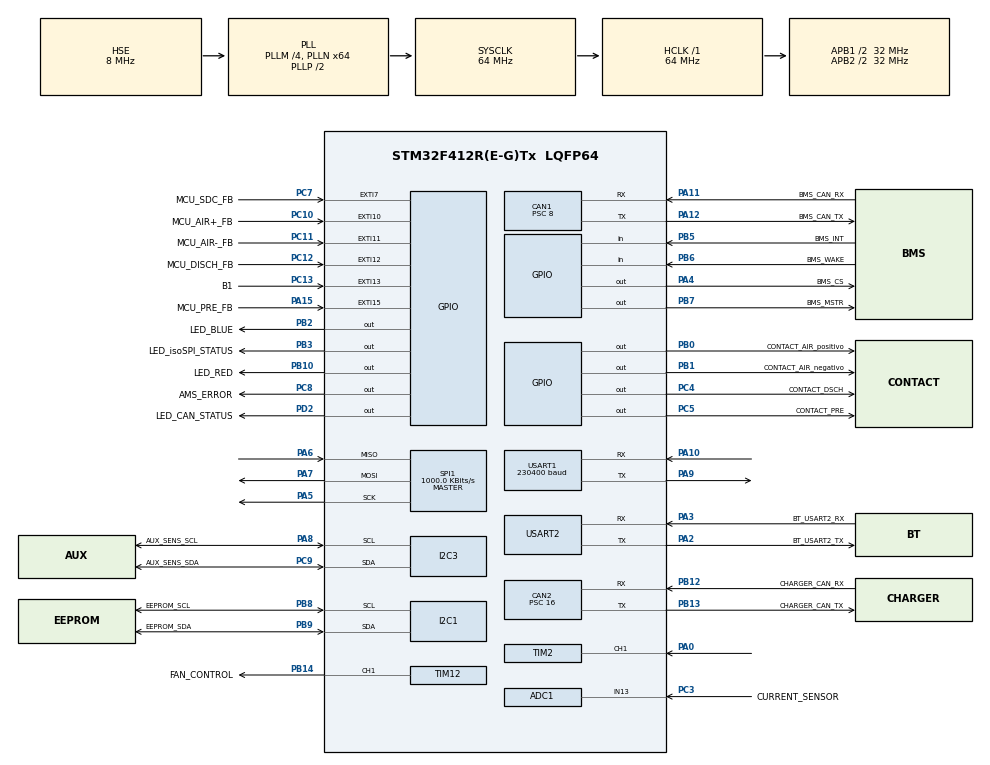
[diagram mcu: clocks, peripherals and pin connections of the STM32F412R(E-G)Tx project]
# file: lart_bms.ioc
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ADC1.Channel-1\#ChannelRegularConversion=ADC_CHANNEL_13
ADC1.Channel-2\#ChannelRegularConversion=ADC_CHANNEL_TEMPSENSOR
ADC1.Channel-3\#ChannelRegularConversion=ADC_CHANNEL_VREFINT
ADC1.ClockPrescaler=ADC_CLOCK_SYNC_PCLK_DIV8
ADC1.ContinuousConvMode=DISABLE
ADC1.DMAContinuousRequests=ENABLE
ADC1.EOCSelection=ADC_EOC_SEQ_CONV
ADC1.ExternalTrigConv=ADC_EXTERNALTRIGCONV_T3_TRGO
ADC1.InjNumberOfConversion=0
ADC1.NbrOfConversion=3
ADC1.NbrOfConversionFlag=1
ADC1.Rank-1\#ChannelRegularConversion=1
ADC1.Rank-2\#ChannelRegularConversion=2
ADC1.Rank-3\#ChannelRegularConversion=3
ADC1.Resolution=ADC_RESOLUTION_12B
ADC1.SamplingTime-1\#ChannelRegularConversion=ADC_SAMPLETIME_144CYCLES
ADC1.SamplingTime-2\#ChannelRegularConversion=ADC_SAMPLETIME_144CYCLES
ADC1.SamplingTime-3\#ChannelRegularConversion=ADC_SAMPLETIME_144CYCLES
ADC1.ScanConvMode=ENABLE
ADC1.master=1
CAN1.ABOM=ENABLE
CAN1.BS1=CAN_BS1_2TQ
CAN1.CalculateBaudRate=1000000
CAN1.CalculateTimeBit=1000
CAN1.CalculateTimeQuantum=250.0
CAN1.NART=ENABLE
CAN1.Prescaler=8
CAN2.ABOM=ENABLE
CAN2.BS1=CAN_BS1_2TQ
CAN2.BS2=CAN_BS2_5TQ
CAN2.CalculateBaudRate=250000
CAN2.CalculateTimeBit=4000
CAN2.CalculateTimeQuantum=500.0
CAN2.NART=ENABLE
CAN2.Prescaler=16
Dma.ADC1.2.Direction=DMA_PERIPH_TO_MEMORY
Dma.ADC1.2.FIFOMode=DMA_FIFOMODE_DISABLE
Dma.ADC1.2.Instance=DMA2_Stream0
Dma.ADC1.2.MemDataAlignment=DMA_MDATAALIGN_HALFWORD
Dma.ADC1.2.MemInc=DMA_MINC_ENABLE
Dma.ADC1.2.Mode=DMA_CIRCULAR
Dma.ADC1.2.PeriphDataAlignment=DMA_PDATAALIGN_HALFWORD
Dma.ADC1.2.PeriphInc=DMA_PINC_DISABLE
Dma.ADC1.2.Priority=DMA_PRIORITY_HIGH
Dma.Request0=USART1_TX
Dma.Request1=USART2_TX
Dma.Request2=ADC1
Dma.USART1_TX.0.Direction=DMA_MEMORY_TO_PERIPH
Dma.USART1_TX.0.FIFOMode=DMA_FIFOMODE_DISABLE
Dma.USART1_TX.0.Instance=DMA2_Stream7
Dma.USART1_TX.0.MemDataAlignment=DMA_MDATAALIGN_BYTE
Dma.USART1_TX.0.MemInc=DMA_MINC_ENABLE
Dma.USART1_TX.0.Mode=DMA_NORMAL
Dma.USART1_TX.0.PeriphDataAlignment=DMA_PDATAALIGN_BYTE
Dma.USART1_TX.0.PeriphInc=DMA_PINC_DISABLE
Dma.USART1_TX.0.Priority=DMA_PRIORITY_LOW
Dma.USART2_TX.1.Direction=DMA_MEMORY_TO_PERIPH
Dma.USART2_TX.1.FIFOMode=DMA_FIFOMODE_DISABLE
Dma.USART2_TX.1.Instance=DMA1_Stream6
Dma.USART2_TX.1.MemDataAlignment=DMA_MDATAALIGN_BYTE
Dma.USART2_TX.1.MemInc=DMA_MINC_ENABLE
Dma.USART2_TX.1.Mode=DMA_NORMAL
Dma.USART2_TX.1.PeriphDataAlignment=DMA_PDATAALIGN_BYTE
Dma.USART2_TX.1.PeriphInc=DMA_PINC_DISABLE
Dma.USART2_TX.1.Priority=DMA_PRIORITY_LOW
Mcu.Family=STM32F4
Mcu.Name=STM32F412R(E-G)Tx
Mcu.Package=LQFP64
NVIC.ADC_IRQn=true\:0\:0\:false\:false\:true\:true\:true\:true
NVIC.CAN1_RX0_IRQn=true\:0\:0\:false\:false\:true\:true\:true\:true
NVIC.DMA1_Stream6_IRQn=true\:0\:0\:false\:false\:true\:false\:true\:true
NVIC.DMA2_Stream0_IRQn=true\:0\:0\:false\:false\:true\:false\:true\:true
NVIC.DMA2_Stream7_IRQn=true\:0\:0\:false\:false\:true\:false\:true\:true
NVIC.EXTI15_10_IRQn=true\:0\:0\:false\:false\:true\:true\:true\:true
NVIC.PriorityGroup=NVIC_PRIORITYGROUP_4
NVIC.TIM2_IRQn=true\:0\:0\:false\:false\:true\:true\:true\:true
NVIC.USART1_IRQn=true\:0\:0\:false\:false\:true\:true\:true\:true
NVIC.USART2_IRQn=true\:0\:0\:false\:false\:true\:true\:true\:true
PA0.Signal=S_TIM2_CH1_ETR
PA10.Mode=Asynchronous
PA10.Signal=USART1_RX
PA11.GPIO_Label=BMS_CAN_RX
PA11.Mode=CAN_Activate
PA11.Signal=CAN1_RX
PA12.GPIO_Label=BMS_CAN_TX
PA12.Mode=CAN_Activate
PA12.Signal=CAN1_TX
PA13.Signal=SYS_JTMS-SWDIO
PA14.Signal=SYS_JTCK-SWCLK
PA15.GPIO_Label=MCU_PRE_FB
PA15.GPIO_ModeDefaultEXTI=GPIO_MODE_IT_RISING_FALLING
PA15.Signal=GPXTI15
PA2.GPIO_Label=BT_USART2_TX
PA2.Mode=Asynchronous
PA2.Signal=USART2_TX
PA3.GPIO_Label=BT_USART2_RX
PA3.Mode=Asynchronous
PA3.Signal=USART2_RX
PA4.GPIO_Label=BMS_CS
PA4.GPIO_Speed=GPIO_SPEED_FREQ_VERY_HIGH
PA4.Signal=GPIO_Output
PA5.Mode=Full_Duplex_Master
PA5.Signal=SPI1_SCK
PA6.Mode=Full_Duplex_Master
PA6.Signal=SPI1_MISO
PA7.Mode=Full_Duplex_Master
PA7.Signal=SPI1_MOSI
PA8.GPIO_Label=AUX_SENS_SCL
PA8.Mode=I2C
PA8.Signal=I2C3_SCL
PA9.Mode=Asynchronous
PA9.Signal=USART1_TX
PB0.GPIO_Label=CONTACT_AIR_positivo
PB0.GPIO_PuPd=GPIO_PULLUP
PB0.PinState=GPIO_PIN_SET
PB0.Signal=GPIO_Output
PB1.GPIO_Label=CONTACT_AIR_negativo
PB1.GPIO_PuPd=GPIO_PULLUP
PB1.PinState=GPIO_PIN_SET
PB1.Signal=GPIO_Output
PB10.GPIO_Label=LED_RED
PB10.Signal=GPIO_Output
PB12.GPIO_Label=CHARGER_CAN_RX
PB12.Mode=CAN_Activate
PB12.Signal=CAN2_RX
PB13.GPIO_Label=CHARGER_CAN_TX
PB13.Mode=CAN_Activate
PB13.Signal=CAN2_TX
PB14.GPIO_Label=FAN_CONTROL
PB14.Signal=S_TIM12_CH1
PB2.GPIO_Label=LED_BLUE
PB2.Signal=GPIO_Output
PB3.GPIO_Label=LED_isoSPI_STATUS
PB3.Signal=GPIO_Output
PB5.GPIO_Label=BMS_INT
PB5.Signal=GPIO_Input
PB6.GPIO_Label=BMS_WAKE
PB6.Signal=GPIO_Input
PB7.GPIO_Label=BMS_MSTR
PB7.Signal=GPIO_Output
PB8.GPIO_Label=EEPROM_SCL
PB8.Mode=I2C
PB8.Signal=I2C1_SCL
PB9.GPIO_Label=EEPROM_SDA
PB9.Mode=I2C
PB9.Signal=I2C1_SDA
PC10.GPIO_Label=MCU_AIR+_FB
PC10.GPIO_ModeDefaultEXTI=GPIO_MODE_IT_RISING_FALLING
PC10.Signal=GPXTI10
PC11.GPIO_Label=MCU_AIR-_FB
PC11.GPIO_ModeDefaultEXTI=GPIO_MODE_IT_RISING_FALLING
PC11.Signal=GPXTI11
PC12.GPIO_Label=MCU_DISCH_FB
PC12.GPIO_ModeDefaultEXTI=GPIO_MODE_IT_RISING_FALLING
PC12.Signal=GPXTI12
PC13.GPIO_Label=B1
PC13.GPIO_PuPd=GPIO_PULLDOWN
PC13.Signal=GPXTI13
PC14-OSC32_IN.Signal=RCC_OSC32_IN
PC15-OSC32_OUT.Signal=RCC_OSC32_OUT
PC3.GPIO_Label=CURRENT_SENSOR
PC3.Signal=SharedAnalog_PC3
PC4.GPIO_Label=CONTACT_DSCH
PC4.GPIO_PuPd=GPIO_PULLUP
PC4.PinState=GPIO_PIN_SET
PC4.Signal=GPIO_Output
PC5.GPIO_Label=CONTACT_PRE
PC5.GPIO_PuPd=GPIO_PULLUP
PC5.PinState=GPIO_PIN_SET
PC5.Signal=GPIO_Output
PC7.GPIO_Label=MCU_SDC_FB
PC7.Signal=GPXTI7
PC8.GPIO_Label=AMS_ERROR
PC8.Signal=GPIO_Output
PC9.GPIO_Label=AUX_SENS_SDA
PC9.Mode=I2C
PC9.Signal=I2C3_SDA
PD2.GPIO_Label=LED_CAN_STATUS
PD2.Signal=GPIO_Output
PH0\ -\ OSC_IN.Mode=HSE-External-Oscillator
PH0\ -\ OSC_IN.Signal=RCC_OSC_IN
PH1\ -\ OSC_OUT.Mode=HSE-External-Oscillator
PH1\ -\ OSC_OUT.Signal=RCC_OSC_OUT
ProjectManager.HeapSize=0x200
ProjectManager.StackSize=0x400
ProjectManager.TargetToolchain=STM32CubeIDE
RCC.AHBFreq_Value=64000000
RCC.APB1CLKDivider=RCC_HCLK_DIV2
RCC.APB1Freq_Value=32000000
RCC.APB1TimFreq_Value=64000000
RCC.APB2CLKDivider=RCC_HCLK_DIV2
RCC.APB2Freq_Value=32000000
RCC.APB2TimFreq_Value=64000000
RCC.CodegenConfigPeriph=true
RCC.CortexFreq_Value=64000000
RCC.HCLKFreq_Value=64000000
RCC.HSE_VALUE=8000000
RCC.LSE_Drive_CapabilityArg=+LSE_Drive_Capability
RCC.PLLI2SM=2
RCC.PLLI2SN=64
RCC.PLLI2SQ=12
RCC.PLLM=4
RCC.PLLN=64
RCC.PLLSourceVirtual=RCC_PLLSOURCE_HSE
RCC.SYSCLKFreq_VALUE=64000000
RCC.SYSCLKSource=RCC_SYSCLKSOURCE_PLLCLK
RCC.USBCLockSelection=RCC_CLK48CLKSOURCE_PLLI2SQ
RCC.USBFreq_Value=21333333.333333332
RCC.VCOOutputFreq_Value=128000000
SH.S_TIM12_CH1.0=TIM12_CH1,PWM Generation1 CH1
SH.S_TIM2_CH1_ETR.0=TIM2_CH1,Input_Capture1_from_TI1
SH.SharedAnalog_PC3.0=GPIO_Analog
SH.SharedAnalog_PC3.1=ADC1_IN13,IN13
SPI1.BaudRatePrescaler=SPI_BAUDRATEPRESCALER_32
SPI1.CLKPhase=SPI_PHASE_1EDGE
SPI1.CLKPolarity=SPI_POLARITY_LOW
SPI1.CalculateBaudRate=1000.0 KBits/s
SPI1.Direction=SPI_DIRECTION_2LINES
SPI1.Mode=SPI_MODE_MASTER
SPI1.VirtualType=VM_MASTER
TIM12.Channel-PWM\ Generation1\ CH1=TIM_CHANNEL_1
TIM12.Period=255
TIM12.Prescaler=249
TIM2.Channel-Input_Capture1_from_TI1=TIM_CHANNEL_1
TIM2.Period=0xffffffff
TIM2.Prescaler=0
TIM3.AutoReloadPreload=TIM_AUTORELOAD_PRELOAD_ENABLE
TIM3.Period=65535
TIM3.TIM_MasterOutputTrigger=TIM_TRGO_UPDATE
TIM5.Period=0xffffffff
TIM5.Prescaler=64-1
USART1.BaudRate=230400
USART1.VirtualMode=VM_ASYNC
USART2.VirtualMode=VM_ASYNC
VP_ADC1_TempSens_Input.Mode=IN-TempSens
VP_ADC1_Vref_Input.Mode=IN-Vrefint
VP_TIM2_VS_ClockSourceINT.Mode=Internal
VP_TIM3_VS_ClockSourceINT.Mode=Internal
VP_TIM5_VS_ClockSourceINT.Mode=Internal
board=custom

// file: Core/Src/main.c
/* USER CODE BEGIN Header */
/**
 ******************************************************************************
 * @file           : main.c
 * @brief          : Main program body
 ******************************************************************************
 * @attention
 *
 * Copyright (c) 2025 STMicroelectronics.
 * All rights reserved.
 *
 * This software is licensed under terms that can be found in the LICENSE file
 * in the root directory of this software component.
 * If no LICENSE file comes with this software, it is provided AS-IS.
 *
 ******************************************************************************
 */
/* USER CODE END Header */
#include "main.h"

/* USER CODE BEGIN Includes */
#include "brain.h"
#include "isa_ivt-s.h"

/* USER CODE END Includes */

ADC_HandleTypeDef hadc1;
DMA_HandleTypeDef hdma_adc1;

CAN_HandleTypeDef hcan1;
CAN_HandleTypeDef hcan2;

I2C_HandleTypeDef hi2c1;
I2C_HandleTypeDef hi2c3;

SPI_HandleTypeDef hspi1;

TIM_HandleTypeDef htim2;
TIM_HandleTypeDef htim3;
TIM_HandleTypeDef htim5;
TIM_HandleTypeDef htim12;

UART_HandleTypeDef huart1;
UART_HandleTypeDef huart2;
DMA_HandleTypeDef hdma_usart1_tx;
DMA_HandleTypeDef hdma_usart2_tx;

WWDG_HandleTypeDef hwwdg;

/* USER CODE BEGIN PV */
uint32_t watchdog_flag = 0;
/* USER CODE END PV */

void SystemClock_Config(void);
static void MX_GPIO_Init(void);
static void MX_DMA_Init(void);
static void MX_USART1_UART_Init(void);
static void MX_SPI1_Init(void);
static void MX_TIM2_Init(void);
static void MX_TIM5_Init(void);
static void MX_I2C1_Init(void);
static void MX_ADC1_Init(void);
static void MX_CAN2_Init(void);
static void MX_CAN1_Init(void);
static void MX_USART2_UART_Init(void);
static void MX_I2C3_Init(void);
static void MX_TIM12_Init(void);
static void MX_TIM3_Init(void);
static void MX_WWDG_Init(void);

int main(void) {

	/* MCU Configuration--------------------------------------------------------*/

	/* Reset of all peripherals, Initializes the Flash interface and the Systick. */
	HAL_Init();

	/* Configure the system clock */
	SystemClock_Config();

	/* USER CODE BEGIN SysInit */
	/* GAURDA O ESTADO ANTES DE DAR RESET E ANTES DE INICIALIZARO WATCHDOG */
	watchdog_flag = RCC->CSR; //O RCC->CSR é um registo de 32 bits sem sinal, com int o bit 31 seria interpretado como sinal negativo
	__HAL_RCC_CLEAR_RESET_FLAGS();

	//matar o watchdog caso esteja em debug mode
	if (CoreDebug->DHCSR & CoreDebug_DHCSR_C_DEBUGEN_Msk) {
	    DBGMCU->APB1FZ |= DBGMCU_APB1_FZ_DBG_WWDG_STOP;
	}
	/* USER CODE END SysInit */

	/* Initialize all configured peripherals */
	MX_GPIO_Init();
	MX_DMA_Init();
	MX_USART1_UART_Init();
	MX_SPI1_Init();
	MX_TIM2_Init();
	MX_TIM5_Init();
	MX_I2C1_Init();
	MX_ADC1_Init();
	MX_CAN2_Init();
	MX_CAN1_Init();
	MX_USART2_UART_Init();
	MX_I2C3_Init();
	MX_TIM12_Init();
	MX_TIM3_Init();
	MX_WWDG_Init();
	/* USER CODE BEGIN 2 */

	//If watchdgot triggered - ams erro be sent
	if (watchdog_flag & RCC_CSR_WWDGRSTF) { //Bitwise stetment, wow another world
		HAL_GPIO_WritePin(AMS_ERROR_GPIO_Port, AMS_ERROR_Pin, GPIO_PIN_SET);
	}

	HAL_WWDG_Refresh(&hwwdg);

	brain_start();

	/* USER CODE END 2 */

	/* Infinite loop */
	/* USER CODE BEGIN WHILE */

	while (1) {

		HAL_WWDG_Refresh(&hwwdg);

		brain_loop();

		HAL_WWDG_Refresh(&hwwdg);

		/* USER CODE END WHILE */

	}
}

void SystemClock_Config(void) {
	RCC_OscInitTypeDef RCC_OscInitStruct = { 0 };
	RCC_ClkInitTypeDef RCC_ClkInitStruct = { 0 };

	/** Configure the main internal regulator output voltage
	 */
	__HAL_RCC_PWR_CLK_ENABLE();
	__HAL_PWR_VOLTAGESCALING_CONFIG(PWR_REGULATOR_VOLTAGE_SCALE1);

	/** Initializes the RCC Oscillators according to the specified parameters
	 * in the RCC_OscInitTypeDef structure.
	 */
	RCC_OscInitStruct.OscillatorType = RCC_OSCILLATORTYPE_HSE;
	RCC_OscInitStruct.HSEState = RCC_HSE_ON;
	RCC_OscInitStruct.PLL.PLLState = RCC_PLL_ON;
	RCC_OscInitStruct.PLL.PLLSource = RCC_PLLSOURCE_HSE;
	RCC_OscInitStruct.PLL.PLLM = 4;
	RCC_OscInitStruct.PLL.PLLN = 64;
	RCC_OscInitStruct.PLL.PLLP = RCC_PLLP_DIV2;
	RCC_OscInitStruct.PLL.PLLQ = 2;
	RCC_OscInitStruct.PLL.PLLR = 2;
	if (HAL_RCC_OscConfig(&RCC_OscInitStruct) != HAL_OK) {
		Error_Handler();
	}

	/** Initializes the CPU, AHB and APB buses clocks
	 */
	RCC_ClkInitStruct.ClockType = RCC_CLOCKTYPE_HCLK | RCC_CLOCKTYPE_SYSCLK | RCC_CLOCKTYPE_PCLK1 | RCC_CLOCKTYPE_PCLK2;
	RCC_ClkInitStruct.SYSCLKSource = RCC_SYSCLKSOURCE_PLLCLK;
	RCC_ClkInitStruct.AHBCLKDivider = RCC_SYSCLK_DIV1;
	RCC_ClkInitStruct.APB1CLKDivider = RCC_HCLK_DIV2;
	RCC_ClkInitStruct.APB2CLKDivider = RCC_HCLK_DIV2;

	if (HAL_RCC_ClockConfig(&RCC_ClkInitStruct, FLASH_LATENCY_1) != HAL_OK) {
		Error_Handler();
	}
}

static void MX_ADC1_Init(void) {

	ADC_ChannelConfTypeDef sConfig = { 0 };

	/** Configure the global features of the ADC (Clock, Resolution, Data Alignment and number of conversion)
	 */
	hadc1.Instance = ADC1;
	hadc1.Init.ClockPrescaler = ADC_CLOCK_SYNC_PCLK_DIV8;
	hadc1.Init.Resolution = ADC_RESOLUTION_12B;
	hadc1.Init.ScanConvMode = ENABLE;
	hadc1.Init.ContinuousConvMode = DISABLE;
	hadc1.Init.DiscontinuousConvMode = DISABLE;
	hadc1.Init.ExternalTrigConvEdge = ADC_EXTERNALTRIGCONVEDGE_RISING;
	hadc1.Init.ExternalTrigConv = ADC_EXTERNALTRIGCONV_T3_TRGO;
	hadc1.Init.DataAlign = ADC_DATAALIGN_RIGHT;
	hadc1.Init.NbrOfConversion = 3;
	hadc1.Init.DMAContinuousRequests = ENABLE;
	hadc1.Init.EOCSelection = ADC_EOC_SEQ_CONV;
	if (HAL_ADC_Init(&hadc1) != HAL_OK) {
		Error_Handler();
	}

	/** Configure for the selected ADC regular channel its corresponding rank in the sequencer and its sample time.
	 */
	sConfig.Channel = ADC_CHANNEL_13;
	sConfig.Rank = 1;
	sConfig.SamplingTime = ADC_SAMPLETIME_144CYCLES;
	if (HAL_ADC_ConfigChannel(&hadc1, &sConfig) != HAL_OK) {
		Error_Handler();
	}

	/** Configure for the selected ADC regular channel its corresponding rank in the sequencer and its sample time.
	 */
	sConfig.Channel = ADC_CHANNEL_TEMPSENSOR;
	sConfig.Rank = 2;
	if (HAL_ADC_ConfigChannel(&hadc1, &sConfig) != HAL_OK) {
		Error_Handler();
	}

	/** Configure for the selected ADC regular channel its corresponding rank in the sequencer and its sample time.
	 */
	sConfig.Channel = ADC_CHANNEL_VREFINT;
	sConfig.Rank = 3;
	if (HAL_ADC_ConfigChannel(&hadc1, &sConfig) != HAL_OK) {
		Error_Handler();
	}

}

static void MX_CAN1_Init(void) {

	hcan1.Instance = CAN1;
	hcan1.Init.Prescaler = 8;
	hcan1.Init.Mode = CAN_MODE_NORMAL;
	hcan1.Init.SyncJumpWidth = CAN_SJW_1TQ;
	hcan1.Init.TimeSeg1 = CAN_BS1_2TQ;
	hcan1.Init.TimeSeg2 = CAN_BS2_1TQ;
	hcan1.Init.TimeTriggeredMode = DISABLE;
	hcan1.Init.AutoBusOff = ENABLE;
	hcan1.Init.AutoWakeUp = DISABLE;
	hcan1.Init.AutoRetransmission = ENABLE;
	hcan1.Init.ReceiveFifoLocked = DISABLE;
	hcan1.Init.TransmitFifoPriority = DISABLE;
	if (HAL_CAN_Init(&hcan1) != HAL_OK) {
		Error_Handler();
	}
	/* USER CODE BEGIN CAN1_Init 2 */

	//IVT_CAN_Setup(&hcan1);

	/*// (Optional) TX complete / error callbacks
	 HAL_CAN_ActivateNotification(&hcan1,
	 CAN_IT_TX_MAILBOX_EMPTY | CAN_IT_ERROR | CAN_IT_BUSOFF);*/

	//HAL_StatusTypeDef st = HAL_CAN_Start(&hcan1);
	/*if (st != HAL_OK) {
	 //printfDma("CAN start failed: %ld\r\n", (long) st);
	 }*/

	/*if (HAL_CAN_Start(&hcan1) != HAL_OK)
	 {
	 Error_Handler();
	 }*/

	/* USER CODE END CAN1_Init 2 */

}

static void MX_CAN2_Init(void) {

	hcan2.Instance = CAN2;
	hcan2.Init.Prescaler = 16;
	hcan2.Init.Mode = CAN_MODE_NORMAL;
	hcan2.Init.SyncJumpWidth = CAN_SJW_1TQ;
	hcan2.Init.TimeSeg1 = CAN_BS1_2TQ;
	hcan2.Init.TimeSeg2 = CAN_BS2_5TQ;
	hcan2.Init.TimeTriggeredMode = DISABLE;
	hcan2.Init.AutoBusOff = ENABLE;
	hcan2.Init.AutoWakeUp = DISABLE;
	hcan2.Init.AutoRetransmission = ENABLE;
	hcan2.Init.ReceiveFifoLocked = DISABLE;
	hcan2.Init.TransmitFifoPriority = DISABLE;
	if (HAL_CAN_Init(&hcan2) != HAL_OK) {
		Error_Handler();
	}

}

static void MX_I2C1_Init(void) {

	hi2c1.Instance = I2C1;
	hi2c1.Init.ClockSpeed = 100000;
	hi2c1.Init.DutyCycle = I2C_DUTYCYCLE_2;
	hi2c1.Init.OwnAddress1 = 0;
	hi2c1.Init.AddressingMode = I2C_ADDRESSINGMODE_7BIT;
	hi2c1.Init.DualAddressMode = I2C_DUALADDRESS_DISABLE;
	hi2c1.Init.OwnAddress2 = 0;
	hi2c1.Init.GeneralCallMode = I2C_GENERALCALL_DISABLE;
	hi2c1.Init.NoStretchMode = I2C_NOSTRETCH_DISABLE;
	if (HAL_I2C_Init(&hi2c1) != HAL_OK) {
		Error_Handler();
	}

}

static void MX_I2C3_Init(void) {

	hi2c3.Instance = I2C3;
	hi2c3.Init.ClockSpeed = 100000;
	hi2c3.Init.DutyCycle = I2C_DUTYCYCLE_2;
	hi2c3.Init.OwnAddress1 = 0;
	hi2c3.Init.AddressingMode = I2C_ADDRESSINGMODE_7BIT;
	hi2c3.Init.DualAddressMode = I2C_DUALADDRESS_DISABLE;
	hi2c3.Init.OwnAddress2 = 0;
	hi2c3.Init.GeneralCallMode = I2C_GENERALCALL_DISABLE;
	hi2c3.Init.NoStretchMode = I2C_NOSTRETCH_DISABLE;
	if (HAL_I2C_Init(&hi2c3) != HAL_OK) {
		Error_Handler();
	}

}

static void MX_SPI1_Init(void) {

	/* SPI1 parameter configuration*/
	hspi1.Instance = SPI1;
	hspi1.Init.Mode = SPI_MODE_MASTER;
	hspi1.Init.Direction = SPI_DIRECTION_2LINES;
	hspi1.Init.DataSize = SPI_DATASIZE_8BIT;
	hspi1.Init.CLKPolarity = SPI_POLARITY_LOW;
	hspi1.Init.CLKPhase = SPI_PHASE_1EDGE;
	hspi1.Init.NSS = SPI_NSS_SOFT;
	hspi1.Init.BaudRatePrescaler = SPI_BAUDRATEPRESCALER_32;
	hspi1.Init.FirstBit = SPI_FIRSTBIT_MSB;
	hspi1.Init.TIMode = SPI_TIMODE_DISABLE;
	hspi1.Init.CRCCalculation = SPI_CRCCALCULATION_DISABLE;
	hspi1.Init.CRCPolynomial = 10;
	if (HAL_SPI_Init(&hspi1) != HAL_OK) {
		Error_Handler();
	}

}

static void MX_TIM2_Init(void) {

	TIM_ClockConfigTypeDef sClockSourceConfig = { 0 };
	TIM_MasterConfigTypeDef sMasterConfig = { 0 };
	TIM_IC_InitTypeDef sConfigIC = { 0 };

	htim2.Instance = TIM2;
	htim2.Init.Prescaler = 0;
	htim2.Init.CounterMode = TIM_COUNTERMODE_UP;
	htim2.Init.Period = 0xffffffff;
	htim2.Init.ClockDivision = TIM_CLOCKDIVISION_DIV1;
	htim2.Init.AutoReloadPreload = TIM_AUTORELOAD_PRELOAD_DISABLE;
	if (HAL_TIM_Base_Init(&htim2) != HAL_OK) {
		Error_Handler();
	}
	sClockSourceConfig.ClockSource = TIM_CLOCKSOURCE_INTERNAL;
	if (HAL_TIM_ConfigClockSource(&htim2, &sClockSourceConfig) != HAL_OK) {
		Error_Handler();
	}
	if (HAL_TIM_IC_Init(&htim2) != HAL_OK) {
		Error_Handler();
	}
	sMasterConfig.MasterOutputTrigger = TIM_TRGO_RESET;
	sMasterConfig.MasterSlaveMode = TIM_MASTERSLAVEMODE_DISABLE;
	if (HAL_TIMEx_MasterConfigSynchronization(&htim2, &sMasterConfig) != HAL_OK) {
		Error_Handler();
	}
	sConfigIC.ICPolarity = TIM_INPUTCHANNELPOLARITY_RISING;
	sConfigIC.ICSelection = TIM_ICSELECTION_DIRECTTI;
	sConfigIC.ICPrescaler = TIM_ICPSC_DIV1;
	sConfigIC.ICFilter = 0;
	if (HAL_TIM_IC_ConfigChannel(&htim2, &sConfigIC, TIM_CHANNEL_1) != HAL_OK) {
		Error_Handler();
	}

}

static void MX_TIM3_Init(void) {

	TIM_ClockConfigTypeDef sClockSourceConfig = { 0 };
	TIM_MasterConfigTypeDef sMasterConfig = { 0 };

	htim3.Instance = TIM3;
	htim3.Init.Prescaler = 0;
	htim3.Init.CounterMode = TIM_COUNTERMODE_UP;
	htim3.Init.Period = 65535;
	htim3.Init.ClockDivision = TIM_CLOCKDIVISION_DIV1;
	htim3.Init.AutoReloadPreload = TIM_AUTORELOAD_PRELOAD_ENABLE;
	if (HAL_TIM_Base_Init(&htim3) != HAL_OK) {
		Error_Handler();
	}
	sClockSourceConfig.ClockSource = TIM_CLOCKSOURCE_INTERNAL;
	if (HAL_TIM_ConfigClockSource(&htim3, &sClockSourceConfig) != HAL_OK) {
		Error_Handler();
	}
	sMasterConfig.MasterOutputTrigger = TIM_TRGO_UPDATE;
	sMasterConfig.MasterSlaveMode = TIM_MASTERSLAVEMODE_DISABLE;
	if (HAL_TIMEx_MasterConfigSynchronization(&htim3, &sMasterConfig) != HAL_OK) {
		Error_Handler();
	}

}

static void MX_TIM5_Init(void) {

	TIM_ClockConfigTypeDef sClockSourceConfig = { 0 };
	TIM_MasterConfigTypeDef sMasterConfig = { 0 };

	htim5.Instance = TIM5;
	htim5.Init.Prescaler = 64 - 1;
	htim5.Init.CounterMode = TIM_COUNTERMODE_UP;
	htim5.Init.Period = 0xffffffff;
	htim5.Init.ClockDivision = TIM_CLOCKDIVISION_DIV1;
	htim5.Init.AutoReloadPreload = TIM_AUTORELOAD_PRELOAD_DISABLE;
	if (HAL_TIM_Base_Init(&htim5) != HAL_OK) {
		Error_Handler();
	}
	sClockSourceConfig.ClockSource = TIM_CLOCKSOURCE_INTERNAL;
	if (HAL_TIM_ConfigClockSource(&htim5, &sClockSourceConfig) != HAL_OK) {
		Error_Handler();
	}
	sMasterConfig.MasterOutputTrigger = TIM_TRGO_RESET;
	sMasterConfig.MasterSlaveMode = TIM_MASTERSLAVEMODE_DISABLE;
	if (HAL_TIMEx_MasterConfigSynchronization(&htim5, &sMasterConfig) != HAL_OK) {
		Error_Handler();
	}

}

static void MX_TIM12_Init(void) {

	TIM_OC_InitTypeDef sConfigOC = { 0 };

	htim12.Instance = TIM12;
	htim12.Init.Prescaler = 249;
	htim12.Init.CounterMode = TIM_COUNTERMODE_UP;
	htim12.Init.Period = 255;
	htim12.Init.ClockDivision = TIM_CLOCKDIVISION_DIV1;
	htim12.Init.AutoReloadPreload = TIM_AUTORELOAD_PRELOAD_DISABLE;
	if (HAL_TIM_PWM_Init(&htim12) != HAL_OK) {
		Error_Handler();
	}
	sConfigOC.OCMode = TIM_OCMODE_PWM1;
	sConfigOC.Pulse = 0;
	sConfigOC.OCPolarity = TIM_OCPOLARITY_HIGH;
	sConfigOC.OCFastMode = TIM_OCFAST_DISABLE;
	if (HAL_TIM_PWM_ConfigChannel(&htim12, &sConfigOC, TIM_CHANNEL_1) != HAL_OK) {
		Error_Handler();
	}
	HAL_TIM_MspPostInit(&htim12);

}

static void MX_USART1_UART_Init(void) {

	huart1.Instance = USART1;
	huart1.Init.BaudRate = 230400;
	huart1.Init.WordLength = UART_WORDLENGTH_8B;
	huart1.Init.StopBits = UART_STOPBITS_1;
	huart1.Init.Parity = UART_PARITY_NONE;
	huart1.Init.Mode = UART_MODE_TX_RX;
	huart1.Init.HwFlowCtl = UART_HWCONTROL_NONE;
	huart1.Init.OverSampling = UART_OVERSAMPLING_16;
	if (HAL_UART_Init(&huart1) != HAL_OK) {
		Error_Handler();
	}

}

static void MX_USART2_UART_Init(void) {

	huart2.Instance = USART2;
	huart2.Init.BaudRate = 115200;
	huart2.Init.WordLength = UART_WORDLENGTH_8B;
	huart2.Init.StopBits = UART_STOPBITS_1;
	huart2.Init.Parity = UART_PARITY_NONE;
	huart2.Init.Mode = UART_MODE_TX_RX;
	huart2.Init.HwFlowCtl = UART_HWCONTROL_NONE;
	huart2.Init.OverSampling = UART_OVERSAMPLING_16;
	if (HAL_UART_Init(&huart2) != HAL_OK) {
		Error_Handler();
	}

}

static void MX_WWDG_Init(void) {

	hwwdg.Instance = WWDG;
	hwwdg.Init.Prescaler = WWDG_PRESCALER_8;
	hwwdg.Init.Window = 127;
	hwwdg.Init.Counter = 127;
	hwwdg.Init.EWIMode = WWDG_EWI_DISABLE;
	if (HAL_WWDG_Init(&hwwdg) != HAL_OK) {
		Error_Handler();
	}

}

static void MX_DMA_Init(void) {

	/* DMA controller clock enable */
	__HAL_RCC_DMA2_CLK_ENABLE();
	__HAL_RCC_DMA1_CLK_ENABLE();

	/* DMA interrupt init */
	/* DMA1_Stream6_IRQn interrupt configuration */
	HAL_NVIC_SetPriority(DMA1_Stream6_IRQn, 0, 0);
	HAL_NVIC_EnableIRQ(DMA1_Stream6_IRQn);
	/* DMA2_Stream0_IRQn interrupt configuration */
	HAL_NVIC_SetPriority(DMA2_Stream0_IRQn, 0, 0);
	HAL_NVIC_EnableIRQ(DMA2_Stream0_IRQn);
	/* DMA2_Stream7_IRQn interrupt configuration */
	HAL_NVIC_SetPriority(DMA2_Stream7_IRQn, 0, 0);
	HAL_NVIC_EnableIRQ(DMA2_Stream7_IRQn);

}

static void MX_GPIO_Init(void) {
	GPIO_InitTypeDef GPIO_InitStruct = { 0 };

	/* GPIO Ports Clock Enable */
	__HAL_RCC_GPIOC_CLK_ENABLE();
	__HAL_RCC_GPIOH_CLK_ENABLE();
	__HAL_RCC_GPIOA_CLK_ENABLE();
	__HAL_RCC_GPIOB_CLK_ENABLE();
	__HAL_RCC_GPIOD_CLK_ENABLE();

	/*Configure GPIO pin Output Level */
	HAL_GPIO_WritePin(BMS_CS_GPIO_Port, BMS_CS_Pin, GPIO_PIN_RESET);

	/*Configure GPIO pin Output Level */
	HAL_GPIO_WritePin(GPIOC, CONTACT_DSCH_Pin | CONTACT_PRE_Pin, GPIO_PIN_SET);

	/*Configure GPIO pin Output Level */
	HAL_GPIO_WritePin(GPIOB, CONTACT_AIR_positivo_Pin | CONTACT_AIR_negativo_Pin, GPIO_PIN_SET);

	/*Configure GPIO pin Output Level */
	HAL_GPIO_WritePin(GPIOB, LED_BLUE_Pin | LED_RED_Pin | LED_isoSPI_STATUS_Pin | BMS_MSTR_Pin, GPIO_PIN_RESET);

	/*Configure GPIO pin Output Level */
	HAL_GPIO_WritePin(AMS_ERROR_GPIO_Port, AMS_ERROR_Pin, GPIO_PIN_RESET);

	/*Configure GPIO pin Output Level */
	HAL_GPIO_WritePin(LED_CAN_STATUS_GPIO_Port, LED_CAN_STATUS_Pin, GPIO_PIN_RESET);

	/*Configure GPIO pin : B1_Pin */
	GPIO_InitStruct.Pin = B1_Pin;
	GPIO_InitStruct.Mode = GPIO_MODE_IT_RISING;
	GPIO_InitStruct.Pull = GPIO_PULLDOWN;
	HAL_GPIO_Init(B1_GPIO_Port, &GPIO_InitStruct);

	/*Configure GPIO pin : BMS_CS_Pin */
	GPIO_InitStruct.Pin = BMS_CS_Pin;
	GPIO_InitStruct.Mode = GPIO_MODE_OUTPUT_PP;
	GPIO_InitStruct.Pull = GPIO_NOPULL;
	GPIO_InitStruct.Speed = GPIO_SPEED_FREQ_VERY_HIGH;
	HAL_GPIO_Init(BMS_CS_GPIO_Port, &GPIO_InitStruct);

	/*Configure GPIO pins : CONTACT_DSCH_Pin CONTACT_PRE_Pin */
	GPIO_InitStruct.Pin = CONTACT_DSCH_Pin | CONTACT_PRE_Pin;
	GPIO_InitStruct.Mode = GPIO_MODE_OUTPUT_PP;
	GPIO_InitStruct.Pull = GPIO_PULLUP;
	GPIO_InitStruct.Speed = GPIO_SPEED_FREQ_LOW;
	HAL_GPIO_Init(GPIOC, &GPIO_InitStruct);

	/*Configure GPIO pins : CONTACT_AIR_positivo_Pin CONTACT_AIR_negativo_Pin */
	GPIO_InitStruct.Pin = CONTACT_AIR_positivo_Pin | CONTACT_AIR_negativo_Pin;
	GPIO_InitStruct.Mode = GPIO_MODE_OUTPUT_PP;
	GPIO_InitStruct.Pull = GPIO_PULLUP;
	GPIO_InitStruct.Speed = GPIO_SPEED_FREQ_LOW;
	HAL_GPIO_Init(GPIOB, &GPIO_InitStruct);

	/*Configure GPIO pins : LED_BLUE_Pin LED_RED_Pin LED_isoSPI_STATUS_Pin BMS_MSTR_Pin */
	GPIO_InitStruct.Pin = LED_BLUE_Pin | LED_RED_Pin | LED_isoSPI_STATUS_Pin | BMS_MSTR_Pin;
	GPIO_InitStruct.Mode = GPIO_MODE_OUTPUT_PP;
	GPIO_InitStruct.Pull = GPIO_NOPULL;
	GPIO_InitStruct.Speed = GPIO_SPEED_FREQ_LOW;
	HAL_GPIO_Init(GPIOB, &GPIO_InitStruct);

	/*Configure GPIO pin : MCU_SDC_FB_Pin */
	GPIO_InitStruct.Pin = MCU_SDC_FB_Pin;
	GPIO_InitStruct.Mode = GPIO_MODE_IT_RISING;
	GPIO_InitStruct.Pull = GPIO_NOPULL;
	HAL_GPIO_Init(MCU_SDC_FB_GPIO_Port, &GPIO_InitStruct);

	/*Configure GPIO pin : AMS_ERROR_Pin */
	GPIO_InitStruct.Pin = AMS_ERROR_Pin;
	GPIO_InitStruct.Mode = GPIO_MODE_OUTPUT_PP;
	GPIO_InitStruct.Pull = GPIO_NOPULL;
	GPIO_InitStruct.Speed = GPIO_SPEED_FREQ_LOW;
	HAL_GPIO_Init(AMS_ERROR_GPIO_Port, &GPIO_InitStruct);

	/*Configure GPIO pin : MCU_PRE_FB_Pin */
	GPIO_InitStruct.Pin = MCU_PRE_FB_Pin;
	GPIO_InitStruct.Mode = GPIO_MODE_IT_RISING_FALLING;
	GPIO_InitStruct.Pull = GPIO_NOPULL;
	HAL_GPIO_Init(MCU_PRE_FB_GPIO_Port, &GPIO_InitStruct);

	/*Configure GPIO pins : MCU_AIR__FB_Pin MCU_AIR__FBC11_Pin MCU_DISCH_FB_Pin */
	GPIO_InitStruct.Pin = MCU_AIR__FB_Pin | MCU_AIR__FBC11_Pin | MCU_DISCH_FB_Pin;
	GPIO_InitStruct.Mode = GPIO_MODE_IT_RISING_FALLING;
	GPIO_InitStruct.Pull = GPIO_NOPULL;
	HAL_GPIO_Init(GPIOC, &GPIO_InitStruct);

	/*Configure GPIO pin : LED_CAN_STATUS_Pin */
	GPIO_InitStruct.Pin = LED_CAN_STATUS_Pin;
	GPIO_InitStruct.Mode = GPIO_MODE_OUTPUT_PP;
	GPIO_InitStruct.Pull = GPIO_NOPULL;
	GPIO_InitStruct.Speed = GPIO_SPEED_FREQ_LOW;
	HAL_GPIO_Init(LED_CAN_STATUS_GPIO_Port, &GPIO_InitStruct);

	/*Configure GPIO pins : BMS_INT_Pin BMS_WAKE_Pin */
	GPIO_InitStruct.Pin = BMS_INT_Pin | BMS_WAKE_Pin;
	GPIO_InitStruct.Mode = GPIO_MODE_INPUT;
	GPIO_InitStruct.Pull = GPIO_NOPULL;
	HAL_GPIO_Init(GPIOB, &GPIO_InitStruct);

	/* EXTI interrupt init*/
	HAL_NVIC_SetPriority(EXTI15_10_IRQn, 0, 0);
	HAL_NVIC_EnableIRQ(EXTI15_10_IRQn);

}

/* USER CODE BEGIN 4 */

/*PUTCHAR_PROTOTYPE {
 if (ch == '\n') {
 uint8_t cr = '\r';
 HAL_UART_Transmit(&huart1, &cr, 1, HAL_MAX_DELAY);
 }
 HAL_UART_Transmit(&huart1, (uint8_t*) &ch, 1, HAL_MAX_DELAY);
 return ch;
 }*/

/* USER CODE END 4 */

void Error_Handler(void) {
	/* USER CODE BEGIN Error_Handler_Debug */
	/* User can add his own implementation to report the HAL error return state */
	HAL_GPIO_WritePin(AMS_ERROR_GPIO_Port, AMS_ERROR_Pin, GPIO_PIN_SET);
	__disable_irq();
	while (1) {
	}
	/* USER CODE END Error_Handler_Debug */
}
